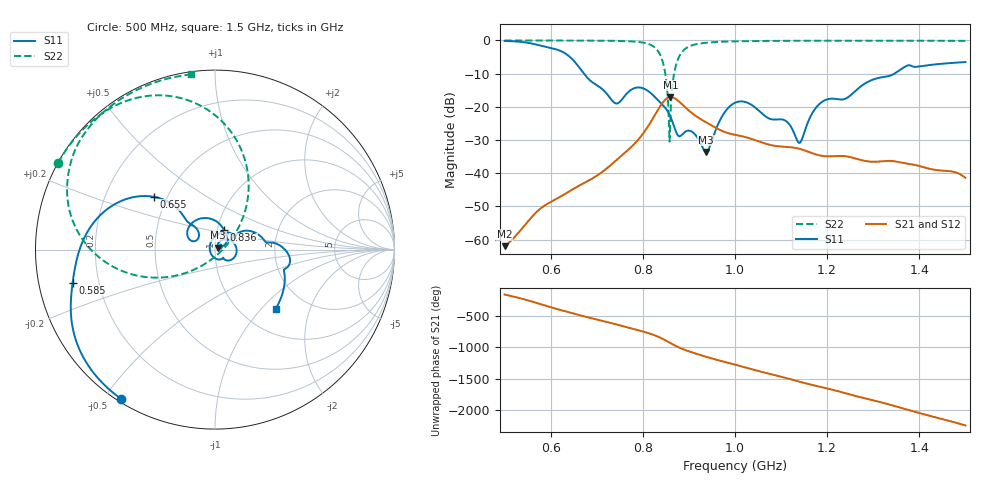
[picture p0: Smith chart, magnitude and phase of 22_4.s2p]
! TOUCHSTONE file generated by CST MICROWAVE STUDIO
! Date and time: Wed Oct 28 19:17:38 2020
! Project name: Scenario_1_Circular_Tissue_out_of_Line.cst
! Parameters = {dy1=18.161; L_HA=400; MT=2.54; Rad_Dielectric=30; Rad_Lower=7.3; Rad_Upper=30; a_HA=580; a_WG=246; b_HA=500; b_WG=121; c_HA=0; c_WG=187; d_feed=85; dx1=693; h_feed=15; h_lower=18; h_upper=40}
! Header version: 2018
! Port assignment regex: !\s*Touchstone port\s*([0-9]+)\s*=\s*(CST MWS port|CST DS port)\s*([0-9]+|Zmin|Zmax)\s*\(\"(.*)\"\)(\s*mode\s*([0-9]+))?.*
! Touchstone port assignment:
! Touchstone port 1 = CST MWS port 1 ("")
! Touchstone port 2 = CST MWS port 2 ("")
# GHz S DB R 50
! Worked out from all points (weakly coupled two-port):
!   1001 points, 500 MHz to 1.5 GHz, reference 50 ohm
!   highest |S21| = -17.05 dB at 860 MHz (marker M1); lowest = -62.0 dB at 500 MHz (marker M2)
!   lowest |S11| = -33.5 dB at 937 MHz (marker M3), VSWR 1.04, Z = 51.8 + j1.17 ohm
!   |S11| at or under -10 dB: 672.1 MHz to 1.346 GHz (673.7 MHz wide, 66.8 % of centre)
!   |S22| runs from -30.5 to 0.0 dB; largest |S21 - S12| = 6.3e-06
!   S11 on the Smith chart (normalised r, x): 500 MHz: 0.01, -0.55; 585 MHz: 0.10, -0.11; 655 MHz: 0.42, +0.31; 836 MHz: 1.08, +0.24; 1.5 GHz: 1.42, -1.21
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0.5  -0.16 -122.3  -61.95 -166.5  -61.95 -166.5  -0.01 151.1
0.585  -1.79 -167.0  -49.89 24.2  -49.89 24.3  -0.02 145.2
0.655  -6.90 139.3  -44.25 -117.9  -44.25 -117.9  -0.04 139.5
0.667  -9.06 133.5  -43.32 -141.4  -43.32 -141.4  -0.04 138.4
0.74  -18.89 143.4  -36.37 84.9  -36.37 84.9  -0.13 129.3
0.779  -14.52 143.9  -31.53 9.3  -31.53 9.3  -0.32 120.6
0.815  -15.60 92.7  -25.06 -65.2  -25.06 -65.2  -1.21 103.4
0.834  -18.15 67.6  -20.63 -117.9  -20.63 -117.9  -3.43 83.2
0.836  -18.43 65.2  -20.18 -124.5  -20.18 -124.5  -3.91 80.2
0.848  -20.16 48.9  -17.92 -168.4  -17.92 -168.4  -9.45 57.2
0.855  -21.58 37.9  -17.21 163.4  -17.21 163.4  -19.42 32.1
0.86  -23.01 30.6  -17.05 143.0  -17.05 143.0  -22.33 -118.7
0.869  -26.41 24.9  -17.41 107.8  -17.41 107.8  -9.09 -153.6
0.88  -28.85 39.3  -18.58 69.5  -18.58 69.5  -4.54 -171.8
0.906  -27.42 25.6  -21.83 -2.1  -21.83 -2.1  -1.51 164.8
0.937  -33.55 32.6  -24.63 -72.5  -24.63 -72.5  -0.71 152.2
1  -18.77 12.7  -28.42 162.3  -28.42 162.3  -0.27 140.2
1.109  -24.12 -62.0  -32.04 -46.1  -32.04 -46.1  -0.12 129.0
1.139  -30.83 -164.2  -32.60 -105.7  -32.60 -105.7  -0.11 126.5
1.167  -22.06 85.3  -33.94 -159.3  -33.94 -159.3  -0.09 124.2
1.334  -10.71 7.8  -36.27 -108.6  -36.27 -108.6  -0.09 111.5
1.5  -6.51 -44.4  -41.37 -82.0  -41.37 -82.1  -0.13 97.9
